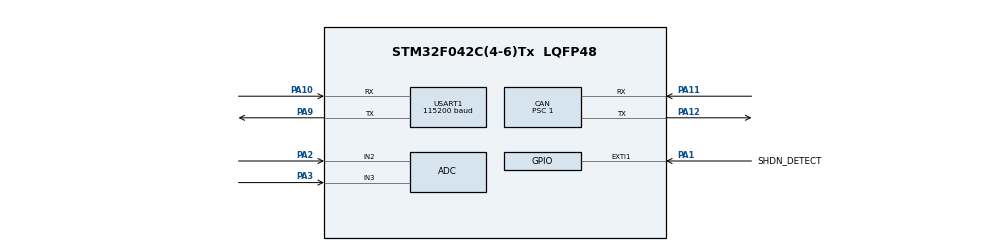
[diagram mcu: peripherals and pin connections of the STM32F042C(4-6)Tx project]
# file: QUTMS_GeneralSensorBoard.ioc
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Mcu.Family=STM32F0
PA10.Mode=Asynchronous
Dma.ADC.0.Mode=DMA_NORMAL
USART1.BaudRate=115200
CAN.CalculateBaudRate=500000
Dma.ADC.0.Priority=DMA_PRIORITY_LOW
PA11.Mode=CAN_Activate
CAN.CalculateTimeBit=2000.00
ProjectManager.StackSize=0x400
Dma.ADC.0.PeriphDataAlignment=DMA_PDATAALIGN_HALFWORD
USART1.VirtualMode-Asynchronous=VM_ASYNC
PA3.Mode=IN3
PA9.Mode=Asynchronous
PA12.Signal=CAN_TX
CAN.BS2=CAN_BS2_2TQ
CAN.BS1=CAN_BS1_13TQ
CAN.Prescaler=1
ProjectManager.TargetToolchain=STM32CubeIDE
Dma.ADC.0.PeriphInc=DMA_PINC_DISABLE
PA9.Signal=USART1_TX
PA1.Signal=GPXTI1
Dma.ADC.0.Direction=DMA_PERIPH_TO_MEMORY
ADC.SamplingTime=ADC_SAMPLETIME_239CYCLES_5
ADC.DMAContinuousRequests=DISABLE
board=custom
PA1.GPIO_Label=SHDN_DETECT
ADC.EOCSelection=ADC_EOC_SINGLE_CONV
Mcu.Name=STM32F042C(4-6)Tx
CAN.CalculateTimeQuantum=125.0
PA2.Signal=ADC_IN2
ADC.Overrun=ADC_OVR_DATA_OVERWRITTEN
Dma.ADC.0.MemInc=DMA_MINC_ENABLE
Mcu.Package=LQFP48
PA12.Mode=CAN_Activate
Dma.ADC.0.Instance=DMA1_Channel1
PA11.Signal=CAN_RX
PA10.Signal=USART1_RX
ProjectManager.HeapSize=0x200
Dma.ADC.0.MemDataAlignment=DMA_MDATAALIGN_HALFWORD
PA2.Mode=IN2
NVIC.DMA1_Channel1_IRQn=true\:0\:0\:false\:false\:true\:false\:true
Dma.Request0=ADC
ADC.ContinuousConvMode=DISABLE
PA1.GPIO_ModeDefaultEXTI=GPIO_MODE_IT_RISING_FALLING
PA3.Signal=ADC_IN3
NVIC.EXTI0_1_IRQn=true\:0\:0\:false\:false\:true\:true\:true

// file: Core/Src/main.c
/* USER CODE BEGIN Header */
/**
 ******************************************************************************
 * @file           : main.c
 * @brief          : Main program body
 ******************************************************************************
 * @attention
 *
 * <h2><center>&copy; Copyright (c) 2021 STMicroelectronics.
 * All rights reserved.</center></h2>
 *
 * This software component is licensed by ST under BSD 3-Clause license,
 * the "License"; You may not use this file except in compliance with the
 * License. You may obtain a copy of the License at:
 *                        opensource.org/licenses/BSD-3-Clause
 *
 ******************************************************************************
 */
/* USER CODE END Header */
#include "main.h"
#include "adc.h"
#include "can.h"
#include "dma.h"
#include "usart.h"
#include "gpio.h"

/* USER CODE BEGIN Includes */
#include <string.h>
#include <stdio.h>
#include <sys/unistd.h>

#include "linearTravel_adc.h"
#include "QUTMS_can.h"
#include "SHDN_CAN_Messages.h"
/* USER CODE END Includes */

/* USER CODE BEGIN PM */
uint32_t adc_buff[2];
/* USER CODE END PM */

void SystemClock_Config(void);

/* USER CODE BEGIN 0 */
#ifdef PRINTF_TO_UART
/** Override _write to log to UART */
int _write(int file, char *data, int len) {
	if ((file != STDOUT_FILENO) && (file != STDERR_FILENO)) {
		return -1;
	}
	HAL_StatusTypeDef s = HAL_UART_Transmit(&huart1, (uint8_t*) data, len, 100);
	/*
	 // log whatever we transmit to serial
	 serial_log_t log_wrapper;
	 memcpy(log_wrapper.data, data, len);
	 log_wrapper.len = len;
	 queue_add(&queue_serial_log, &log_wrapper);
	 */
	return (s == HAL_OK ? len : 0);
}
#endif

/* USER CODE END 0 */

int main(void) {

	/* MCU Configuration--------------------------------------------------------*/

	/* Reset of all peripherals, Initializes the Flash interface and the Systick. */
	HAL_Init();

	/* Configure the system clock */
	SystemClock_Config();

	/* Initialize all configured peripherals */
	MX_GPIO_Init();
	MX_DMA_Init();
	MX_USART1_UART_Init();
	MX_ADC_Init();
	MX_CAN_Init();
	/* USER CODE BEGIN 2 */
	printf("start\r\n");
	HAL_Delay(250);
	setup_CAN();
	setup_suspension_adc();
	printf("fin init\r\n");

	//HAL_ADC_Start_DMA(&hadc, (uint32_t *)adc_buff, 2);
	int i = 0;

	/* USER CODE END 2 */

	/* Infinite loop */
	while (1) {

		/* USER CODE BEGIN 3 */

		//HAL_ADC_Start(&hadc);
		//HAL_ADC_Start_DMA(&hadc, adc_val, 2);
		// Poll ADC1 Perihperal & TimeOut = 1mSec
		//HAL_ADC_PollForConversion(&hadc, 1);
		// Read The ADC Conversion Result & Map It To PWM DutyCycle
		//uint16_t adc_val = HAL_ADC_GetValue(&hadc);
		timer_update(&timer_suspension_adc, NULL);

		//printf("%i %i %i\r\n", ++i, current_suspension_values.raw_suspension_value[0], current_suspension_values.raw_suspension_value[1]);

		//HAL_Delay(100);
	}
	/* USER CODE END 3 */
}

void SystemClock_Config(void) {
	RCC_OscInitTypeDef RCC_OscInitStruct = { 0 };
	RCC_ClkInitTypeDef RCC_ClkInitStruct = { 0 };
	RCC_PeriphCLKInitTypeDef PeriphClkInit = { 0 };

	/** Initializes the RCC Oscillators according to the specified parameters
	 * in the RCC_OscInitTypeDef structure.
	 */
	RCC_OscInitStruct.OscillatorType = RCC_OSCILLATORTYPE_HSI
			| RCC_OSCILLATORTYPE_HSI14;
	RCC_OscInitStruct.HSIState = RCC_HSI_ON;
	RCC_OscInitStruct.HSI14State = RCC_HSI14_ON;
	RCC_OscInitStruct.HSICalibrationValue = RCC_HSICALIBRATION_DEFAULT;
	RCC_OscInitStruct.HSI14CalibrationValue = 16;
	RCC_OscInitStruct.PLL.PLLState = RCC_PLL_NONE;
	if (HAL_RCC_OscConfig(&RCC_OscInitStruct) != HAL_OK) {
		Error_Handler();
	}
	/** Initializes the CPU, AHB and APB buses clocks
	 */
	RCC_ClkInitStruct.ClockType = RCC_CLOCKTYPE_HCLK | RCC_CLOCKTYPE_SYSCLK
			| RCC_CLOCKTYPE_PCLK1;
	RCC_ClkInitStruct.SYSCLKSource = RCC_SYSCLKSOURCE_HSI;
	RCC_ClkInitStruct.AHBCLKDivider = RCC_SYSCLK_DIV1;
	RCC_ClkInitStruct.APB1CLKDivider = RCC_HCLK_DIV1;

	if (HAL_RCC_ClockConfig(&RCC_ClkInitStruct, FLASH_LATENCY_0) != HAL_OK) {
		Error_Handler();
	}
	PeriphClkInit.PeriphClockSelection = RCC_PERIPHCLK_USART1;
	PeriphClkInit.Usart1ClockSelection = RCC_USART1CLKSOURCE_PCLK1;
	if (HAL_RCCEx_PeriphCLKConfig(&PeriphClkInit) != HAL_OK) {
		Error_Handler();
	}
}

/* USER CODE BEGIN 4 */
void shutdown_detect() {
	uint8_t shutdown_state = HAL_GPIO_ReadPin(SHDN_DETECT_GPIO_Port,
	SHDN_DETECT_Pin);

	SHDN_ShutdownTriggered_t msg = Compose_SHDN_ShutdownTriggered(
			shutdown_state);
	CAN_TxHeaderTypeDef header = { .ExtId = msg.id, .IDE = CAN_ID_EXT,
			.RTR = CAN_RTR_DATA, .DLC = sizeof(msg.data), .TransmitGlobalTime =
					DISABLE, };

	HAL_CAN_AddTxMessage(&hcan, &header, msg.data, &can_mailbox);
}
/* USER CODE END 4 */

void Error_Handler(void) {
	__disable_irq();
	while (1) {
	}
}

/************************ (C) COPYRIGHT STMicroelectronics *****END OF FILE****/
